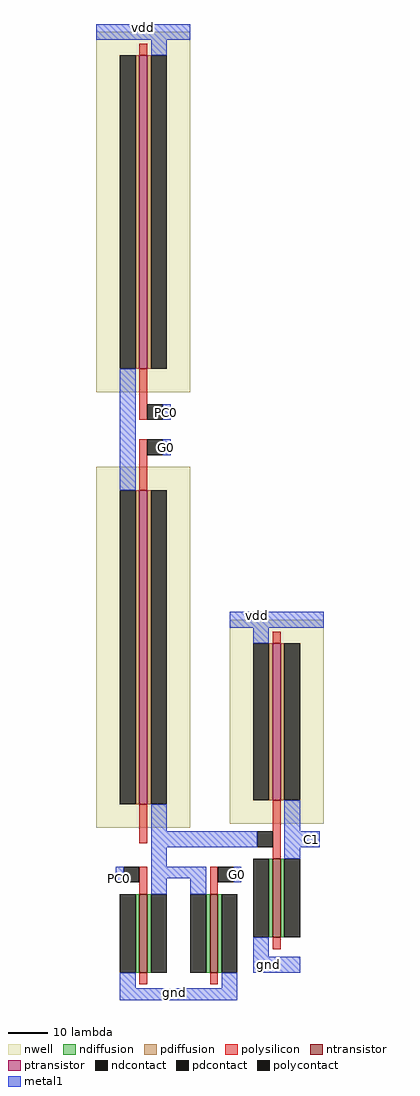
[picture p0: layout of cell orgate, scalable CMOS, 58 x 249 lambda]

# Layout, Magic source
magic
tech scmos
<< nwell >>
rect -246 1348 -222 1440
rect -246 1237 -222 1329
rect -212 1238 -188 1290
<< ntransistor >>
rect -235 1200 -233 1220
rect -217 1200 -215 1220
rect -201 1209 -199 1229
<< ptransistor >>
rect -235 1354 -233 1434
rect -235 1243 -233 1323
rect -201 1244 -199 1284
<< ndiffusion >>
rect -236 1200 -235 1220
rect -233 1200 -232 1220
rect -218 1200 -217 1220
rect -215 1200 -214 1220
rect -202 1209 -201 1229
rect -199 1209 -198 1229
<< pdiffusion >>
rect -236 1354 -235 1434
rect -233 1354 -232 1434
rect -236 1243 -235 1323
rect -233 1243 -232 1323
rect -202 1244 -201 1284
rect -199 1244 -198 1284
<< ndcontact >>
rect -240 1200 -236 1220
rect -232 1200 -228 1220
rect -222 1200 -218 1220
rect -214 1200 -210 1220
rect -206 1209 -202 1229
rect -198 1209 -194 1229
<< pdcontact >>
rect -240 1354 -236 1434
rect -232 1354 -228 1434
rect -240 1243 -236 1323
rect -232 1243 -228 1323
rect -206 1244 -202 1284
rect -198 1244 -194 1284
<< polysilicon >>
rect -235 1434 -233 1437
rect -235 1341 -233 1354
rect -235 1323 -233 1336
rect -201 1284 -199 1287
rect -235 1233 -233 1243
rect -201 1229 -199 1244
rect -235 1220 -233 1227
rect -217 1220 -215 1227
rect -201 1206 -199 1209
rect -235 1197 -233 1200
rect -217 1197 -215 1200
<< polycontact >>
rect -233 1341 -229 1345
rect -233 1332 -229 1336
rect -205 1232 -201 1236
rect -239 1223 -235 1227
rect -215 1223 -211 1227
<< metal1 >>
rect -246 1438 -222 1442
rect -232 1434 -228 1438
rect -240 1323 -236 1354
rect -229 1341 -227 1345
rect -229 1332 -227 1336
rect -212 1288 -188 1292
rect -206 1284 -202 1288
rect -232 1236 -228 1243
rect -198 1236 -194 1244
rect -232 1232 -205 1236
rect -198 1232 -189 1236
rect -232 1227 -228 1232
rect -198 1229 -194 1232
rect -241 1223 -239 1227
rect -232 1224 -218 1227
rect -232 1220 -228 1224
rect -222 1220 -218 1224
rect -211 1223 -209 1227
rect -206 1204 -202 1209
rect -206 1200 -194 1204
rect -240 1196 -236 1200
rect -214 1196 -210 1200
rect -240 1193 -210 1196
<< labels >>
rlabel metal1 -226 1195 -226 1195 1 gnd
rlabel metal1 -234 1441 -234 1441 5 vdd
rlabel metal1 -202 1202 -202 1202 1 gnd
rlabel metal1 -205 1291 -205 1291 5 vdd
rlabel metal1 -228 1343 -228 1343 1 PC0
rlabel metal1 -228 1334 -228 1334 1 G0
rlabel metal1 -240 1224 -240 1224 1 PC0
rlabel metal1 -210 1225 -210 1225 1 G0
rlabel metal1 -191 1234 -191 1234 7 C1
<< end >>
